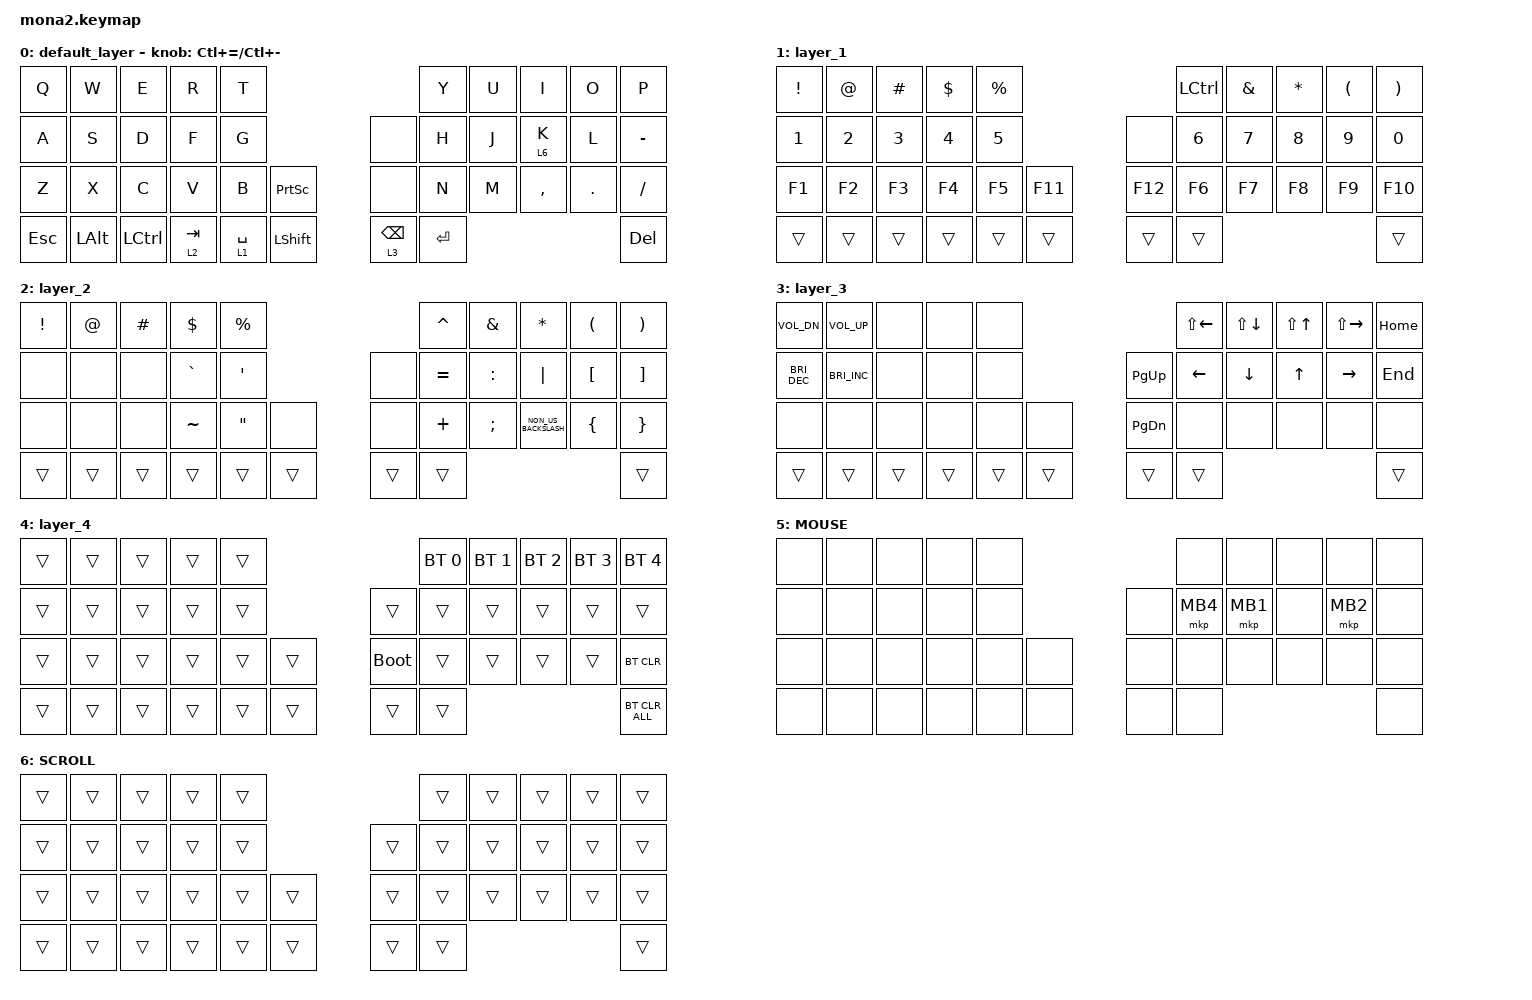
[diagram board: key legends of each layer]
#include <input/processors.dtsi>
#include <dt-bindings/zmk/input_transform.h>
#include <zephyr/dt-bindings/input/input-event-codes.h>
#include <behaviors.dtsi>
#include <dt-bindings/zmk/bt.h>
#include <dt-bindings/zmk/keys.h>
#include <dt-bindings/zmk/pointing.h>

https: &mt {
    flavor = "balanced";
    quick-tap-ms = <0>;
    tapping-term-ms = <400>;
};

&lt {
    quick-tap-ms = <300>;
    flavor = "balanced";
};

/ {
    combos {
        compatible = "zmk,combos";

        layer4_ESC {
            bindings = <&lt 4 ESC>;
            key-positions = <39 38>;
        };

        lang1 {
            bindings = <&kp LANGUAGE_1>;
            key-positions = <6 17>;
        };

        lang2 {
            bindings = <&kp LANGUAGE_2>;
            key-positions = <13 3>;
        };
    };

    macros {
        to_layer_0: to_layer_0 {
            compatible = "zmk,behavior-macro-one-param";
            #binding-cells = <1>;
            bindings = <&to 0 &macro_param_1to1 &kp MACRO_PLACEHOLDER>;
            label = "TO_LAYER_0";
        };
    };

    behaviors {
        lt_to_layer_0: lt_to_layer_0 {
            compatible = "zmk,behavior-hold-tap";
            label = "LAYER_TAP_TO_0";
            bindings = <&mo>, <&to_layer_0>;

            #binding-cells = <2>;
            tapping-term-ms = <200>;
        };

        scroll_up_down: mouse_wheel_up_down {
            compatible = "zmk,behavior-sensor-rotate";
            #sensor-binding-cells = <0>;
            bindings = <&msc SCRL_DOWN>, <&msc SCRL_UP>;

            tap-ms = <20>;
        };

        scroll_right_left: mouse_wheel_right_left {
            compatible = "zmk,behavior-sensor-rotate";
            #sensor-binding-cells = <0>;
            bindings = <&msc SCRL_LEFT>, <&msc SCRL_RIGHT>;

            tap-ms = <20>;
        };
    };

    keymap {
        compatible = "zmk,keymap";

        default_layer {
            bindings = <
&kp Q       &kp W         &kp E      &kp R      &kp T                                            &kp Y    &kp U  &kp I      &kp O    &kp P
&kp A       &kp S         &kp D      &kp F      &kp G                           &none            &kp H    &kp J  &lt 6 K    &kp L    &kp MINUS
&kp Z       &kp X         &kp C      &kp V      &kp B        &kp PRINTSCREEN    &none            &kp N    &kp M  &kp COMMA  &kp DOT  &kp SLASH
&kp ESCAPE  &kp LEFT_ALT  &kp LCTRL  &lt 2 TAB  &lt 1 SPACE  &kp LEFT_SHIFT     &lt 3 BACKSPACE  &kp RET                             &kp DELETE
            >;

            sensor-bindings = <&inc_dec_kp LC(EQUAL) LC(MINUS)>;
        };

        layer_1 {
            bindings = <
&kp EXCLAMATION  &kp AT_SIGN   &kp HASH      &kp DOLLAR    &kp PERCENT                      &kp LCTRL     &kp AMPERSAND  &kp ASTERISK  &kp LEFT_PARENTHESIS  &kp RIGHT_PARENTHESIS
&kp NUMBER_1     &kp NUMBER_2  &kp NUMBER_3  &kp NUMBER_4  &kp N5                  &none    &kp NUMBER_6  &kp N7         &kp N8        &kp N9                &kp N0
&kp F1           &kp F2        &kp F3        &kp F4        &kp F5       &kp F11    &kp F12  &kp F6        &kp F7         &kp F8        &kp F9                &kp F10
&trans           &trans        &trans        &trans        &trans       &trans     &trans   &trans                                                           &trans
            >;
        };

        layer_2 {
            bindings = <
&kp EXCLAMATION  &kp AT_SIGN  &kp HASH  &kp DOLLAR  &kp PERCENT                          &kp CARET  &kp AMPERSAND  &kp ASTERISK          &kp LEFT_PARENTHESIS  &kp RIGHT_PARENTHESIS
&none            &none        &none     &kp GRAVE   &kp SQT                      &none   &kp EQUAL  &kp COLON      &kp PIPE              &kp LEFT_BRACKET      &kp RIGHT_BRACKET
&none            &none        &none     &kp TILDE   &kp DOUBLE_QUOTES  &none     &none   &kp PLUS   &kp SEMICOLON  &kp NON_US_BACKSLASH  &kp LEFT_BRACE        &kp RIGHT_BRACE
&trans           &trans       &trans    &trans      &trans             &trans    &trans  &trans                                                                &trans
            >;
        };

        layer_3 {
            bindings = <
&kp C_VOL_DN   &kp C_VOL_UP   &none   &none   &none                            &kp LS(LEFT_ARROW)  &kp LS(DOWN)  &kp LS(UP_ARROW)  &kp LS(RIGHT)    &kp HOME
&kp C_BRI_DEC  &kp C_BRI_INC  &none   &none   &none             &kp PAGE_UP    &kp LEFT            &kp DOWN      &kp UP_ARROW      &kp RIGHT_ARROW  &kp END
&none          &none          &none   &none   &none   &none     &kp PAGE_DOWN  &none               &none         &none             &none            &none
&trans         &trans         &trans  &trans  &trans  &trans    &trans         &trans                                                               &trans
            >;
        };

        layer_4 {
            bindings = <
&trans  &trans  &trans  &trans  &trans                         &bt BT_SEL 0  &bt BT_SEL 1  &bt BT_SEL 2  &bt BT_SEL 3  &bt BT_SEL 4
&trans  &trans  &trans  &trans  &trans            &trans       &trans        &trans        &trans        &trans        &trans
&trans  &trans  &trans  &trans  &trans  &trans    &bootloader  &trans        &trans        &trans        &trans        &bt BT_CLR
&trans  &trans  &trans  &trans  &trans  &trans    &trans       &trans                                                  &bt BT_CLR_ALL
            >;
        };

        MOUSE {
            bindings = <
&none  &none  &none  &none  &none                  &none     &none     &none  &none     &none
&none  &none  &none  &none  &none           &none  &mkp MB4  &mkp MB1  &none  &mkp MB2  &none
&none  &none  &none  &none  &none  &none    &none  &none     &none     &none  &none     &none
&none  &none  &none  &none  &none  &none    &none  &none                                &none
            >;
        };

        SCROLL {
            bindings = <
&trans  &trans  &trans  &trans  &trans                    &trans  &trans  &trans  &trans  &trans
&trans  &trans  &trans  &trans  &trans            &trans  &trans  &trans  &trans  &trans  &trans
&trans  &trans  &trans  &trans  &trans  &trans    &trans  &trans  &trans  &trans  &trans  &trans
&trans  &trans  &trans  &trans  &trans  &trans    &trans  &trans                          &trans
            >;
        };
    };
};
